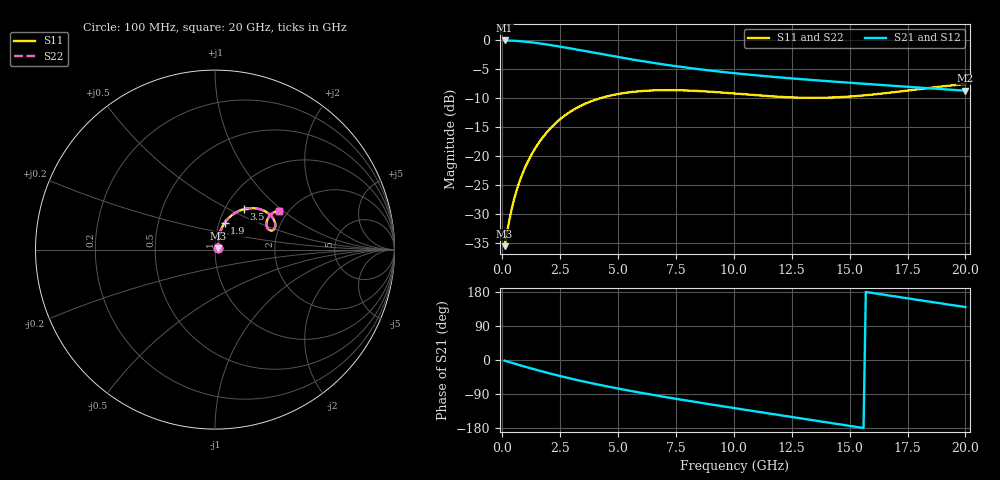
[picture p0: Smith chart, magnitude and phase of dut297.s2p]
! Created with skrf 1.9.0 (http://scikit-rf.org).
# GHz S RI R 50.0
!freq ReS11 ImS11 ReS21 ImS21 ReS12 ImS12 ReS22 ImS22
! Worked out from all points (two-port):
!   200 points, 100 MHz to 20 GHz, reference 50 ohm
!   highest |S21| = -0.13 dB at 100 MHz (marker M1); lowest = -8.8 dB at 20 GHz (marker M2)
!   |S21| within 3 dB of the highest: start of sweep to 5.204 GHz
!   lowest |S11| = -35.6 dB at 100 MHz (marker M3), VSWR 1.03, Z = 51.5 + j0.786 ohm
!   |S11| at or under -10 dB: start of sweep to 4.294 GHz; 13.04 GHz to 13.84 GHz (798.7 MHz wide, 5.94 % of centre)
!   |S22| runs from -35.6 to -7.6 dB; largest |S21 - S12| = 2.4e-15
!   S11 on the Smith chart (normalised r, x): 100 MHz: 1.03, +0.02; 1.9 GHz: 1.06, +0.32; 3.5 GHz: 1.22, +0.60; 20 GHz: 1.78, +0.94
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0.1  0.0148 0.00763  0.9845 -0.0316  0.9845 -0.0316  0.0148 0.00763
0.3  0.0156 0.0229  0.9782 -0.0942  0.9782 -0.0942  0.0156 0.0229
0.4  0.0162 0.0304  0.9728 -0.125  0.9728 -0.125  0.0162 0.0304
0.6  0.0177 0.0457  0.9582 -0.185  0.9582 -0.185  0.0177 0.0457
0.8  0.0199 0.0613  0.9384 -0.2426  0.9384 -0.2426  0.0199 0.0613
1  0.023 0.0771  0.9141 -0.2972  0.9141 -0.2972  0.023 0.0771
1.3  0.0299 0.1013  0.8703 -0.3726  0.8703 -0.3726  0.0299 0.1013
1.9  0.0532 0.1482  0.7639 -0.4974  0.7639 -0.4974  0.0532 0.1482
2.6  0.0951 0.1928  0.6237 -0.599  0.6237 -0.599  0.0951 0.1928
3.5  0.1606 0.225  0.4426 -0.6699  0.4426 -0.6699  0.1606 0.225
4.2  0.2102 0.2308  0.3122 -0.6896  0.3122 -0.6896  0.2102 0.2308
4.9  0.2529 0.224  0.1949 -0.6874  0.1949 -0.6874  0.2529 0.224
5.8  0.2942 0.2041  0.0643 -0.6627  0.0643 -0.6627  0.2942 0.2041
6.8  0.3222 0.1761  -0.056 -0.6169  -0.056 -0.6169  0.3222 0.1761
8.4  0.336 0.1351  -0.2038 -0.5217  -0.2038 -0.5217  0.336 0.1351
10.1  0.3251 0.1099  -0.3137 -0.4057  -0.3137 -0.4057  0.3251 0.1099
11.7  0.3065 0.1071  -0.3814 -0.2893  -0.3814 -0.2893  0.3065 0.1071
13.4  0.2906 0.1233  -0.419 -0.1625  -0.419 -0.1625  0.2906 0.1233
15  0.2871 0.1498  -0.4234 -0.0456  -0.4234 -0.0456  0.2871 0.1498
16.7  0.2988 0.1805  -0.3972 0.0687  -0.3972 0.0687  0.2988 0.1805
18.4  0.3241 0.2049  -0.3444 0.1653  -0.3444 0.1653  0.3241 0.2049
20  0.3546 0.2167  -0.2774 0.2353  -0.2774 0.2353  0.3546 0.2167
